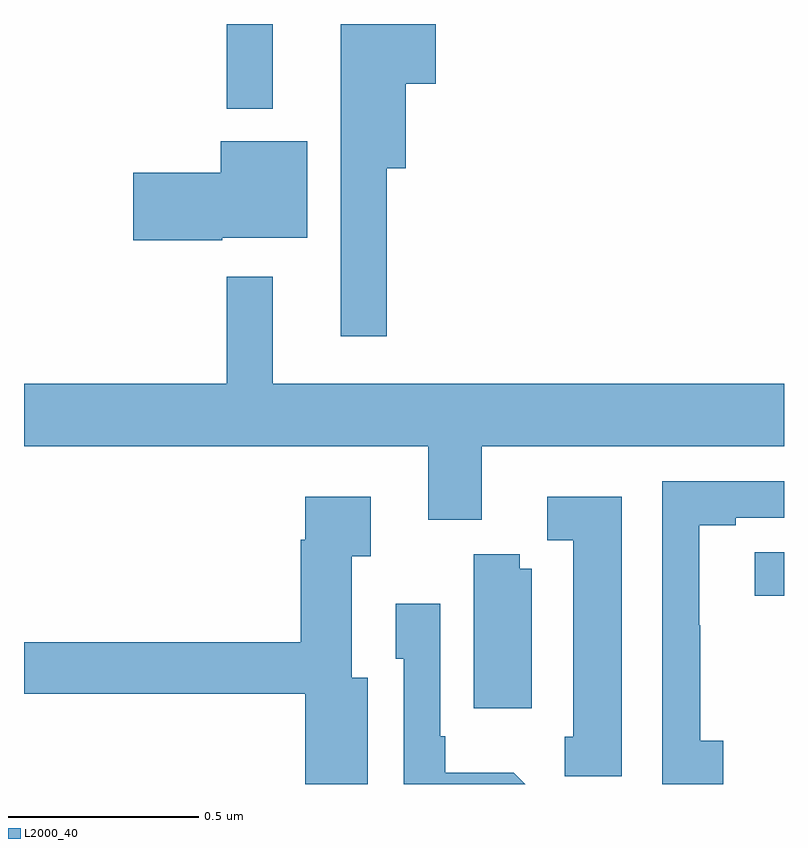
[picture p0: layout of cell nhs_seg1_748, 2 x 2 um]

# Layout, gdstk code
import gdstk
lib = gdstk.Library(unit=1e-6, precision=1e-09)
def R(c, l, rs):  # rectangles x0, y0, x1, y1
    for r in rs: c.add(gdstk.rectangle(r[:2], r[2:], *l))
def P(c, l, *ps):  # polygons
    for p in ps: c.add(gdstk.Polygon(p, *l))
L2000_40 = (2000, 40)

nhs_seg1_748 = lib.new_cell('nhs_seg1_748')
R(nhs_seg1_748, L2000_40, [(121.923,528.694,122,528.809), (120.534,529.976,120.655,530.199)])
P(nhs_seg1_748, L2000_40, [(120.955,529.82),(121.004,529.82),(121.004,530.042),(121.084,530.042),(121.084,530.199),(120.833,530.199),(120.833,529.377),(120.955,529.377)],
  [(120.522,529.637),(120.745,529.637),(120.745,529.891),(120.518,529.891),(120.518,529.808),(120.288,529.808),(120.288,529.63),(120.522,529.63)],
  [(121.204,529.088),(122,529.088),(122,529.252),(120.655,529.252),(120.655,529.534),(120.534,529.534),(120.534,529.252),(120,529.252),(120,529.088),(121.064,529.088),(121.064,528.894),(121.204,528.894)],
  [(121.84,528.313),(121.779,528.313),(121.779,528.617),(121.777,528.617),(121.777,528.88),(121.873,528.88),(121.873,528.9),(122,528.9),(122,528.996),(121.68,528.996),(121.68,528.199),(121.84,528.199)],
  [(120.904,528.478),(120.862,528.478),(120.862,528.799),(120.913,528.799),(120.913,528.955),(120.74,528.955),(120.74,528.842),(120.728,528.842),(120.728,528.572),(120,528.572),(120,528.436),(120.74,528.436),(120.74,528.199),(120.904,528.199)],
  [(121.573,528.955),(121.377,528.955),(121.377,528.84),(121.445,528.84),(121.445,528.324),(121.423,528.324),(121.423,528.219),(121.573,528.219)],
  [(121.336,528.766),(121.304,528.766),(121.304,528.803),(121.184,528.803),(121.184,528.399),(121.336,528.399)],
  [(121.289,528.229),(121.108,528.229),(121.108,528.325),(121.095,528.325),(121.095,528.673),(120.978,528.673),(120.978,528.528),(120.999,528.528),(120.999,528.199),(121.319,528.199)])

lib.write_gds('nhs_seg1_748.gds')
